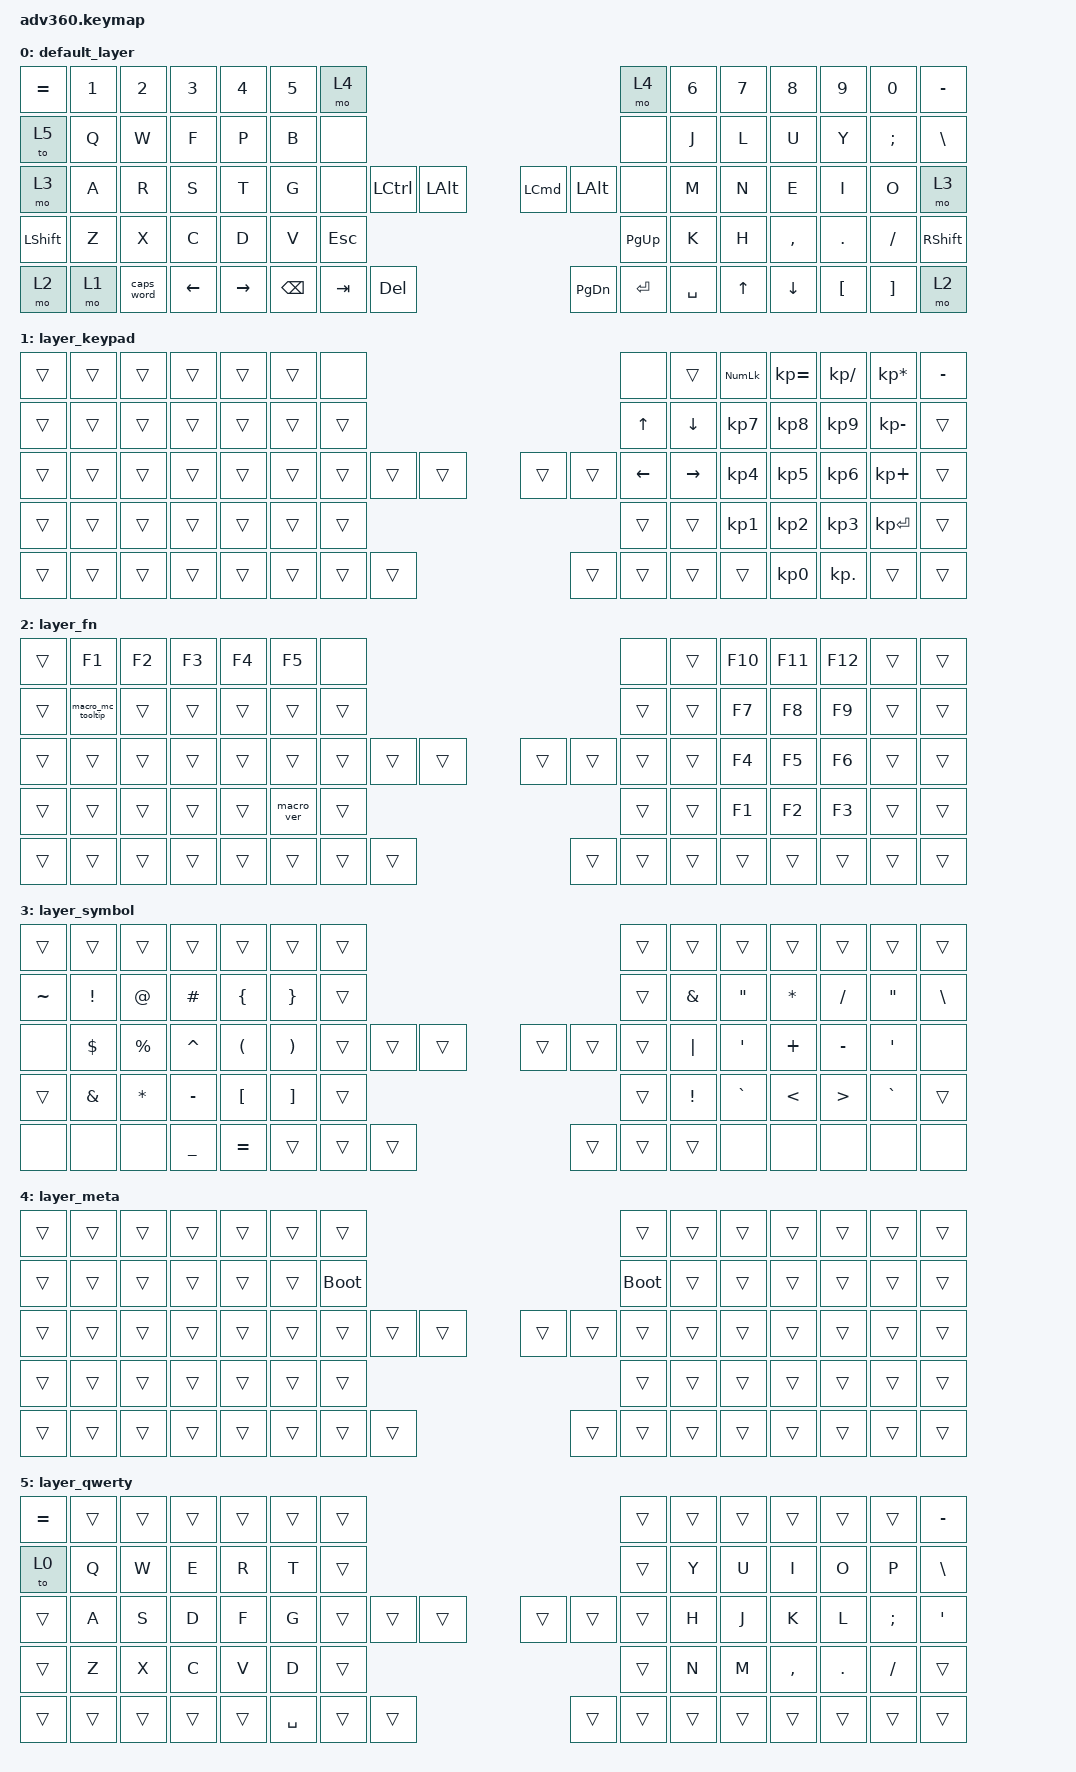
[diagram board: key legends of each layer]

/*
 * Copyright (c) 2020 The ZMK Contributors
 *
 * SPDX-License-Identifier: MIT
 */


/* THIS FILE WAS GENERATED!
 *
 * This file was generated automatically. You may or may not want to
 * edit it directly.
 */

#include <behaviors.dtsi>
#include <dt-bindings/zmk/keys.h>

/ {
  behaviors {
    #include "macros.dtsi"
    #include "version.dtsi"

    hm: homerow_mods {
        compatible = "zmk,behavior-hold-tap";
        label = "HOMEROW_MODS";
        #binding-cells = <2>;
        tapping-term-ms = <200>;
        quick_tap_ms = <175>;
        flavor = "tap-preferred";
        bindings = <&kp>, <&kp>;
    };
  };

    keymap {
        compatible = "zmk,keymap";


        default_layer {
            bindings = <
      &kp EQUAL  &kp N1      &kp N2    &kp N3     &kp N4  &kp N5               &mo 4                                                                        &mo 4  &kp N6  &kp N7     &kp N8      &kp N9         &kp N0        &kp MINUS
          &to 5   &kp Q       &kp W     &kp F      &kp P   &kp B               &none                                                                        &none   &kp J   &kp L      &kp U       &kp Y  &kp SEMICOLON         &kp BSLH
          &mo 3   &kp A       &kp R     &kp S      &kp T   &kp G               &none  &kp LCTRL  &kp LALT                  &kp LEFT_COMMAND   &kp LALT      &none   &kp M   &kp N      &kp E       &kp I          &kp O            &mo 3
 &kp LEFT_SHIFT   &kp Z       &kp X     &kp C      &kp D   &kp V                                  &kp ESC                         &kp PG_UP                         &kp K   &kp H  &kp COMMA  &kp PERIOD      &kp SLASH  &kp RIGHT_SHIFT
          &mo 2   &mo 1  &caps_word  &kp LEFT  &kp RIGHT                    &kp BSPC    &kp TAB   &kp DEL                         &kp PG_DN  &kp ENTER  &kp SPACE          &kp UP   &kp DOWN    &kp LBKT       &kp RBKT            &mo 2
            >;
        };

        layer_keypad {
            bindings = <
 &trans  &trans  &trans  &trans  &trans  &trans             &none                                                         &none          &trans  &kp KP_NUM  &kp KP_EQUAL  &kp KP_DIVIDE  &kp KP_MULTIPLY  &kp MINUS
 &trans  &trans  &trans  &trans  &trans  &trans            &trans                                                  &kp UP_ARROW  &kp DOWN_ARROW   &kp KP_N7     &kp KP_N8      &kp KP_N9     &kp KP_MINUS     &trans
 &trans  &trans  &trans  &trans  &trans  &trans            &trans  &trans  &trans                  &trans  &trans      &kp LEFT       &kp RIGHT   &kp KP_N4     &kp KP_N5      &kp KP_N6      &kp KP_PLUS     &trans
 &trans  &trans  &trans  &trans  &trans  &trans                            &trans                  &trans                                &trans   &kp KP_N1     &kp KP_N2      &kp KP_N3     &kp KP_ENTER     &trans
 &trans  &trans  &trans  &trans  &trans                    &trans  &trans  &trans                  &trans  &trans        &trans                      &trans     &kp KP_N0     &kp KP_DOT           &trans     &trans
            >;
        };

        layer_fn {
            bindings = <
 &trans             &kp F1  &kp F2  &kp F3  &kp F4      &kp F5             &none                                                   &none  &trans  &kp F10  &kp F11  &kp F12  &trans  &trans
 &trans  &macro_mc_tooltip  &trans  &trans  &trans      &trans            &trans                                                  &trans  &trans   &kp F7   &kp F8   &kp F9  &trans  &trans
 &trans             &trans  &trans  &trans  &trans      &trans            &trans  &trans  &trans                  &trans  &trans  &trans  &trans   &kp F4   &kp F5   &kp F6  &trans  &trans
 &trans             &trans  &trans  &trans  &trans  &macro_ver                            &trans                  &trans                  &trans   &kp F1   &kp F2   &kp F3  &trans  &trans
 &trans             &trans  &trans  &trans  &trans                        &trans  &trans  &trans                  &trans  &trans  &trans           &trans   &trans   &trans  &trans  &trans
            >;
        };

        layer_symbol {
            bindings = <
    &trans           &trans       &trans          &trans                &trans                 &trans            &trans                                                  &trans         &trans             &trans         &trans            &trans             &trans         &trans
 &kp TILDE  &kp EXCLAMATION  &kp AT_SIGN        &kp HASH        &kp LEFT_BRACE        &kp RIGHT_BRACE            &trans                                                  &trans  &kp AMPERSAND  &kp DOUBLE_QUOTES       &kp STAR         &kp SLASH  &kp DOUBLE_QUOTES  &kp BACKSLASH
     &none       &kp DOLLAR  &kp PERCENT       &kp CARET  &kp LEFT_PARENTHESIS  &kp RIGHT_PARENTHESIS            &trans  &trans  &trans                  &trans  &trans  &trans       &kp PIPE   &kp SINGLE_QUOTE       &kp PLUS         &kp MINUS   &kp SINGLE_QUOTE          &none
    &trans    &kp AMPERSAND     &kp STAR       &kp MINUS      &kp LEFT_BRACKET      &kp RIGHT_BRACKET                            &trans                  &trans                       &kp EXCL          &kp GRAVE  &kp LESS_THAN  &kp GREATER_THAN          &kp GRAVE         &trans
     &none            &none        &none  &kp UNDERSCORE             &kp EQUAL                                   &trans  &trans  &trans                  &trans  &trans  &trans                             &none          &none             &none              &none          &none
            >;
        };

        layer_meta {
            bindings = <
 &trans  &trans  &trans  &trans  &trans  &trans                 &trans                                                       &trans  &trans  &trans  &trans  &trans  &trans  &trans
 &trans  &trans  &trans  &trans  &trans  &trans            &bootloader                                                  &bootloader  &trans  &trans  &trans  &trans  &trans  &trans
 &trans  &trans  &trans  &trans  &trans  &trans                 &trans  &trans  &trans                  &trans  &trans       &trans  &trans  &trans  &trans  &trans  &trans  &trans
 &trans  &trans  &trans  &trans  &trans  &trans                                 &trans                  &trans                       &trans  &trans  &trans  &trans  &trans  &trans
 &trans  &trans  &trans  &trans  &trans                         &trans  &trans  &trans                  &trans  &trans       &trans          &trans  &trans  &trans  &trans  &trans
            >;
        };

        layer_qwerty {
            bindings = <
 &kp EQUAL  &trans  &trans  &trans  &trans  &trans               &trans                                                  &trans  &trans  &trans     &trans      &trans         &trans         &kp MINUS
     &to 0   &kp Q   &kp W   &kp E   &kp R   &kp T               &trans                                                  &trans   &kp Y   &kp U      &kp I       &kp O          &kp P     &kp BACKSLASH
    &trans   &kp A   &kp S   &kp D   &kp F   &kp G               &trans  &trans  &trans                  &trans  &trans  &trans   &kp H   &kp J      &kp K       &kp L  &kp SEMICOLON  &kp SINGLE_QUOTE
    &trans   &kp Z   &kp X   &kp C   &kp V   &kp D                               &trans                  &trans                   &kp N   &kp M  &kp COMMA  &kp PERIOD      &kp SLASH            &trans
    &trans  &trans  &trans  &trans  &trans                    &kp SPACE  &trans  &trans                  &trans  &trans  &trans          &trans     &trans      &trans         &trans            &trans
            >;
        };

    };
};
